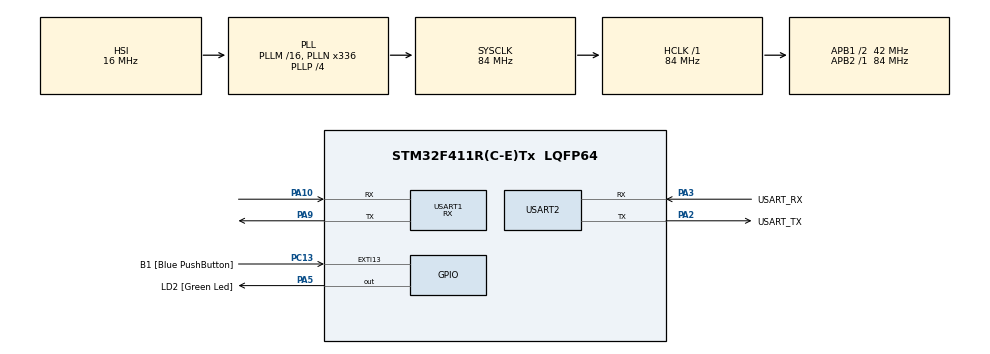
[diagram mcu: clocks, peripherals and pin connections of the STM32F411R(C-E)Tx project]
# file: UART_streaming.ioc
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Mcu.Family=STM32F4
Mcu.Name=STM32F411R(C-E)Tx
Mcu.Package=LQFP64
NVIC.PriorityGroup=NVIC_PRIORITYGROUP_0
NVIC.USART1_IRQn=true\:0\:0\:false\:false\:true\:true\:true\:true
PA10.Mode=Asynchronous
PA10.Signal=USART1_RX
PA13.GPIO_Label=TMS
PA13.Mode=Serial_Wire
PA13.Signal=SYS_JTMS-SWDIO
PA14.GPIO_Label=TCK
PA14.Mode=Serial_Wire
PA14.Signal=SYS_JTCK-SWCLK
PA2.GPIO_Label=USART_TX
PA2.Mode=Asynchronous
PA2.Signal=USART2_TX
PA3.GPIO_Label=USART_RX
PA3.Mode=Asynchronous
PA3.Signal=USART2_RX
PA5.GPIO_Label=LD2 [Green Led]
PA5.Signal=GPIO_Output
PA9.Mode=Asynchronous
PA9.Signal=USART1_TX
PB3.GPIO_Label=SWO
PB3.Signal=SYS_JTDO-SWO
PC13-ANTI_TAMP.GPIO_Label=B1 [Blue PushButton]
PC13-ANTI_TAMP.GPIO_ModeDefaultEXTI=GPIO_MODE_IT_FALLING
PC13-ANTI_TAMP.Signal=GPXTI13
PC14-OSC32_IN.Mode=LSE-External-Oscillator
PC14-OSC32_IN.Signal=RCC_OSC32_IN
PC15-OSC32_OUT.Mode=LSE-External-Oscillator
PC15-OSC32_OUT.Signal=RCC_OSC32_OUT
PH0\ -\ OSC_IN.Mode=HSE-External-Clock-Source
PH0\ -\ OSC_IN.Signal=RCC_OSC_IN
PH1\ -\ OSC_OUT.Mode=HSE-External-Clock-Source
PH1\ -\ OSC_OUT.Signal=RCC_OSC_OUT
ProjectManager.HeapSize=0x200
ProjectManager.StackSize=0x400
ProjectManager.TargetToolchain=STM32CubeIDE
RCC.48MHZClocksFreq_Value=84000000
RCC.AHBFreq_Value=84000000
RCC.APB1CLKDivider=RCC_HCLK_DIV2
RCC.APB1Freq_Value=42000000
RCC.APB1TimFreq_Value=84000000
RCC.APB2Freq_Value=84000000
RCC.APB2TimFreq_Value=84000000
RCC.CortexFreq_Value=84000000
RCC.FLatency-AdvancedSettings=FLASH_LATENCY_2
RCC.HCLKFreq_Value=84000000
RCC.HSE_VALUE=8000000
RCC.HSI_VALUE=16000000
RCC.PLLN=336
RCC.PLLP=RCC_PLLP_DIV4
RCC.SYSCLKFreq_VALUE=84000000
RCC.SYSCLKSource=RCC_SYSCLKSOURCE_PLLCLK
RCC.VCOOutputFreq_Value=336000000
USART1.Mode=MODE_RX
USART1.VirtualMode=VM_ASYNC
USART2.VirtualMode=VM_ASYNC
board=NUCLEO-F411RE

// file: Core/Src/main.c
/* USER CODE BEGIN Header */
/**
  ******************************************************************************
  * @file           : main.c
  * @brief          : Main program body
  ******************************************************************************
  * @attention
  *
  * Copyright (c) 2025 STMicroelectronics.
  * All rights reserved.
  *
  * This software is licensed under terms that can be found in the LICENSE file
  * in the root directory of this software component.
  * If no LICENSE file comes with this software, it is provided AS-IS.
  *
  ******************************************************************************
  */
/* USER CODE END Header */
#include "main.h"

UART_HandleTypeDef huart1;
UART_HandleTypeDef huart2;

/* USER CODE BEGIN PV */
#define RX_BUFFER_SIZE 256  // Size of the "waiting room"

uint8_t rx_byte_holding;    // 1-byte temp container for the HAL interrupt
uint8_t rx_buffer[RX_BUFFER_SIZE]; // The main storage
volatile uint16_t rx_head = 0; // Where the ISR writes to
volatile uint16_t rx_tail = 0; // Where the Main loop reads from
/* USER CODE END PV */

void SystemClock_Config(void);
static void MX_GPIO_Init(void);
static void MX_USART2_UART_Init(void);
static void MX_USART1_UART_Init(void);

int main(void)
{

  /* MCU Configuration--------------------------------------------------------*/

  /* Reset of all peripherals, Initializes the Flash interface and the Systick. */
  HAL_Init();

  /* Configure the system clock */
  SystemClock_Config();

  /* Initialize all configured peripherals */
  MX_GPIO_Init();
  MX_USART2_UART_Init();
  MX_USART1_UART_Init();
  /* USER CODE BEGIN 2 */
  HAL_UART_Receive_IT(&huart1, &rx_byte_holding, 1);
  /* USER CODE END 2 */

  /* Infinite loop */
  /* USER CODE BEGIN WHILE */
  while (1)
    {
      // Check if there is new data in the buffer
      if (rx_head != rx_tail)
      {
          // 1. Get the byte from the buffer
          uint8_t byte_to_send = rx_buffer[rx_tail];

          // 2. Send it over UART2
          // It is okay to block here, because the Interrupt can still
          // run in the background and fill the buffer!
          HAL_UART_Transmit(&huart2, &byte_to_send, 1, 100);

          // 3. Move the tail forward
          rx_tail = (rx_tail + 1) % RX_BUFFER_SIZE;
      }
    /* USER CODE END WHILE */

  }
}

void SystemClock_Config(void)
{
  RCC_OscInitTypeDef RCC_OscInitStruct = {0};
  RCC_ClkInitTypeDef RCC_ClkInitStruct = {0};

  /** Configure the main internal regulator output voltage
  */
  __HAL_RCC_PWR_CLK_ENABLE();
  __HAL_PWR_VOLTAGESCALING_CONFIG(PWR_REGULATOR_VOLTAGE_SCALE1);

  /** Initializes the RCC Oscillators according to the specified parameters
  * in the RCC_OscInitTypeDef structure.
  */
  RCC_OscInitStruct.OscillatorType = RCC_OSCILLATORTYPE_HSI;
  RCC_OscInitStruct.HSIState = RCC_HSI_ON;
  RCC_OscInitStruct.HSICalibrationValue = RCC_HSICALIBRATION_DEFAULT;
  RCC_OscInitStruct.PLL.PLLState = RCC_PLL_ON;
  RCC_OscInitStruct.PLL.PLLSource = RCC_PLLSOURCE_HSI;
  RCC_OscInitStruct.PLL.PLLM = 16;
  RCC_OscInitStruct.PLL.PLLN = 336;
  RCC_OscInitStruct.PLL.PLLP = RCC_PLLP_DIV4;
  RCC_OscInitStruct.PLL.PLLQ = 4;
  if (HAL_RCC_OscConfig(&RCC_OscInitStruct) != HAL_OK)
  {
    Error_Handler();
  }

  /** Initializes the CPU, AHB and APB buses clocks
  */
  RCC_ClkInitStruct.ClockType = RCC_CLOCKTYPE_HCLK|RCC_CLOCKTYPE_SYSCLK
                              |RCC_CLOCKTYPE_PCLK1|RCC_CLOCKTYPE_PCLK2;
  RCC_ClkInitStruct.SYSCLKSource = RCC_SYSCLKSOURCE_PLLCLK;
  RCC_ClkInitStruct.AHBCLKDivider = RCC_SYSCLK_DIV1;
  RCC_ClkInitStruct.APB1CLKDivider = RCC_HCLK_DIV2;
  RCC_ClkInitStruct.APB2CLKDivider = RCC_HCLK_DIV1;

  if (HAL_RCC_ClockConfig(&RCC_ClkInitStruct, FLASH_LATENCY_2) != HAL_OK)
  {
    Error_Handler();
  }
}

static void MX_USART1_UART_Init(void)
{

  huart1.Instance = USART1;
  huart1.Init.BaudRate = 115200;
  huart1.Init.WordLength = UART_WORDLENGTH_8B;
  huart1.Init.StopBits = UART_STOPBITS_1;
  huart1.Init.Parity = UART_PARITY_NONE;
  huart1.Init.Mode = UART_MODE_RX;
  huart1.Init.HwFlowCtl = UART_HWCONTROL_NONE;
  huart1.Init.OverSampling = UART_OVERSAMPLING_16;
  if (HAL_UART_Init(&huart1) != HAL_OK)
  {
    Error_Handler();
  }

}

static void MX_USART2_UART_Init(void)
{

  huart2.Instance = USART2;
  huart2.Init.BaudRate = 115200;
  huart2.Init.WordLength = UART_WORDLENGTH_8B;
  huart2.Init.StopBits = UART_STOPBITS_1;
  huart2.Init.Parity = UART_PARITY_NONE;
  huart2.Init.Mode = UART_MODE_TX_RX;
  huart2.Init.HwFlowCtl = UART_HWCONTROL_NONE;
  huart2.Init.OverSampling = UART_OVERSAMPLING_16;
  if (HAL_UART_Init(&huart2) != HAL_OK)
  {
    Error_Handler();
  }

}

static void MX_GPIO_Init(void)
{
  GPIO_InitTypeDef GPIO_InitStruct = {0};

  /* GPIO Ports Clock Enable */
  __HAL_RCC_GPIOC_CLK_ENABLE();
  __HAL_RCC_GPIOH_CLK_ENABLE();
  __HAL_RCC_GPIOA_CLK_ENABLE();
  __HAL_RCC_GPIOB_CLK_ENABLE();

  /*Configure GPIO pin Output Level */
  HAL_GPIO_WritePin(LD2_GPIO_Port, LD2_Pin, GPIO_PIN_RESET);

  /*Configure GPIO pin : B1_Pin */
  GPIO_InitStruct.Pin = B1_Pin;
  GPIO_InitStruct.Mode = GPIO_MODE_IT_FALLING;
  GPIO_InitStruct.Pull = GPIO_NOPULL;
  HAL_GPIO_Init(B1_GPIO_Port, &GPIO_InitStruct);

  /*Configure GPIO pin : LD2_Pin */
  GPIO_InitStruct.Pin = LD2_Pin;
  GPIO_InitStruct.Mode = GPIO_MODE_OUTPUT_PP;
  GPIO_InitStruct.Pull = GPIO_NOPULL;
  GPIO_InitStruct.Speed = GPIO_SPEED_FREQ_LOW;
  HAL_GPIO_Init(LD2_GPIO_Port, &GPIO_InitStruct);

}

/* USER CODE BEGIN 4 */
void HAL_UART_RxCpltCallback(UART_HandleTypeDef *huart)
{
    if (huart->Instance == USART1)
    {
        // 1. Put the received byte into the Ring Buffer
        rx_buffer[rx_head] = rx_byte_holding;

        // 2. Increment the head position (and wrap around if we reach the end)
        rx_head = (rx_head + 1) % RX_BUFFER_SIZE;

        // 3. IMMEDIATELY restart listening.
        // Because we didn't block to transmit, this happens almost instantly.
        HAL_UART_Receive_IT(&huart1, &rx_byte_holding, 1);
    }
}

/* USER CODE END 4 */

void Error_Handler(void)
{
  __disable_irq();
  while (1)
  {
  }
}
